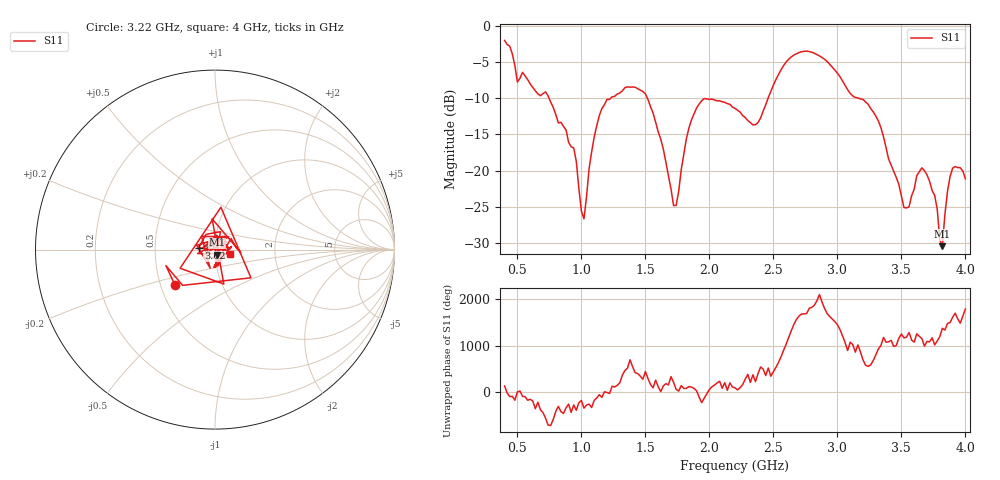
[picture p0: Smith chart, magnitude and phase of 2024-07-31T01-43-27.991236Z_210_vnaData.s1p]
!Created with skrf (http://scikit-rf.org).
# Hz S RI R 50.0
!freq ReS11 ImS11
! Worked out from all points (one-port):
!   181 points, 400 MHz to 4 GHz, reference 50 ohm
!   lowest |S11| = -30.5 dB at 3.82 GHz (marker M1), VSWR 1.06, Z = 51.1 - j2.84 ohm
!   |S11| at or under -10 dB: 747.4 MHz to 1.229 GHz (481.3 MHz wide, 48.7 % of centre); 1.516 GHz to 2.458 GHz (942.7 MHz wide, 47.4 % of centre); 3.166 GHz to end of sweep
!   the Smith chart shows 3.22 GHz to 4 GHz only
!   S11 on the Smith chart (normalised r, x): 3.22 GHz: 0.59, -0.26; 3.62 GHz: 0.83, +0.02; 4 GHz: 1.18, -0.06
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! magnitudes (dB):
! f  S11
! 400 MHz  -2.0
! 500 MHz  -7.8
! 720 MHz  -9.1
! 860 MHz  -13.9
! 940 MHz  -16.9
! 1.02 GHz  -26.7
! 1.06 GHz  -19.7
! 1.14 GHz  -12.4
! 1.3 GHz  -9.3
! 1.5 GHz  -9.4
! 1.64 GHz  -17.0
! 1.72 GHz  -24.8
! 1.76 GHz  -22.9
! 1.82 GHz  -15.6
! 1.92 GHz  -10.8
! 2.2 GHz  -11.4
! 2.38 GHz  -13.4
! 2.66 GHz  -4.0
! 2.88 GHz  -4.4
! 3.1 GHz  -9.3
! 3.22 GHz  -10.5
! 3.56 GHz  -25.0
! 3.62 GHz  -20.7
! 3.72 GHz  -21.5
! 3.82 GHz  -30.5
! 3.86 GHz  -22.9
! 3.9 GHz  -19.7
! 4 GHz  -21.1
